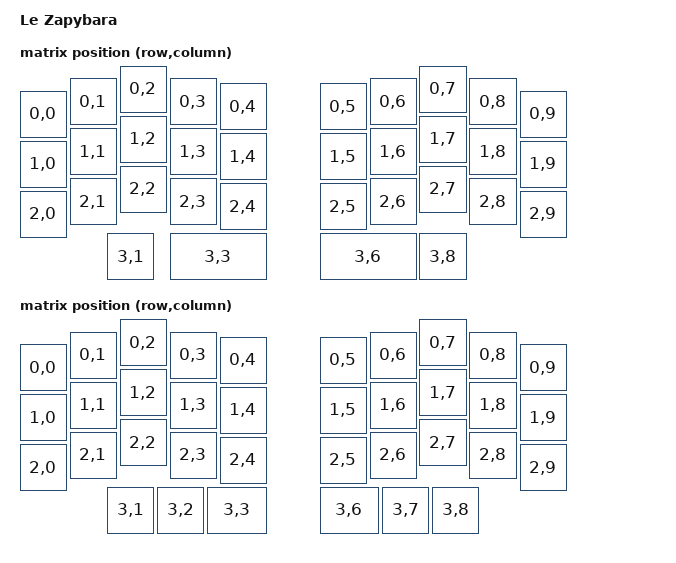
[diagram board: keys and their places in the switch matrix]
/*
 * Copyright (c) 2020 The ZMK Contributors
 *
 * SPDX-License-Identifier: MIT
 */

/dts-v1/;
#include <nordic/nrf52840_qiaa.dtsi>

#include <zephyr/dt-bindings/dt-util.h>
#include <zephyr/dt-bindings/adc/adc.h>
#include <zephyr/dt-bindings/gpio/nordic-nrf-gpio.h>

#include <dt-bindings/zmk/matrix_transform.h>
#include <physical_layouts.dtsi>

#include <freq.h>

&adc {
    status = "okay";

    #address-cells = <1>;
    #size-cells = <0>;

    channel@3 {
        reg = <3>;
        zephyr,gain = "ADC_GAIN_1_6";
        zephyr,reference = "ADC_REF_INTERNAL";
        zephyr,acquisition-time = <ADC_ACQ_TIME(ADC_ACQ_TIME_MICROSECONDS, 40)>;
        zephyr,resolution = <12>;
    };

    channel@1 {
        reg = <1>;
        zephyr,gain = "ADC_GAIN_1_6";
        zephyr,reference = "ADC_REF_INTERNAL";
        zephyr,acquisition-time = <ADC_ACQ_TIME(ADC_ACQ_TIME_MICROSECONDS, 3)>;
        zephyr,resolution = <12>;
    };
};

#define MUX(label)                      \
    label: label {                        \
    	compatible = "zmk,gpio-mux";            \
        gpio-controller;                        \
        #gpio-cells = <2>;                      \
    };


#define EC_MATRIX(_name, _bottom_mask)              \
    _name: _name {                                  \
        compatible = "zmk,kscan-ec-matrix";         \
        input-gpios                                 \
	        = <&left_mux 0 0>                   \
	        , <&left_mux 1 0>                   \
	        , <&left_mux 2 0>                   \
	        , <&left_mux 3 0>                   \
	        , <&left_mux 4 0>                   \
	        , <&right_mux 2 0>                  \
	        , <&right_mux 4 0>                  \
	        , <&right_mux 6 0>                  \
	        , <&right_mux 7 0>                  \
	        , <&right_mux 5 0>                  \
        ;                                           \
        io-channels = <&adc 1>;                     \
        matrix-relax-us = <3>;                      \
        matrix-warm-up-us = <500>;                  \
        adc-read-settle-us = <1>;                   \
        strobe-input-masks = <0 0 0 _bottom_mask>;  \
        sleep-after-secs = <10>;                    \
        active-polling-interval-ms = <2>;           \
        idle-polling-interval-ms = <3>;             \
        sleep-polling-interval-ms = <4>;            \
        dynamic-polling-interval;                   \
    };

/ {
    model = "Le Zapybara";
    compatible = "sporkus,le_zapybara", "nordic,nrf52840";

    chosen {
        zephyr,code-partition = &code_partition;
        zephyr,sram = &sram0;
        zephyr,flash = &flash0;
	zerhyr,console = &cdc_acm_uart;
	zerhyr,shell-uart = &cdc_acm_uart;
        zmk,battery = &vbatt;
	zmk,physical-layout = &layout;
    };

    vbatt: vbatt {
        compatible = "voltage-divider";
        io-channels = <&adc 3>;
        
        output-ohms = <2000000>;
        full-ohms = <(2000000 + 806000)>;
    };

    aliases {
        led0 = &blue_led;
    };

    leds {
        compatible = "gpio-leds";
        blue_led: led_0 {
        };
    };

    transform: transform {
        compatible = "zmk,matrix-transform";
        rows = <4>;
        columns = <10>;

        map = <
        RC(0,0) RC(0,1) RC(0,2) RC(0,3) RC(0,4)     RC(0,5) RC(0,6) RC(0,7) RC(0,8) RC(0,9)
        RC(1,0) RC(1,1) RC(1,2) RC(1,3) RC(1,4)     RC(1,5) RC(1,6) RC(1,7) RC(1,8) RC(1,9)
        RC(2,0) RC(2,1) RC(2,2) RC(2,3) RC(2,4)     RC(2,5) RC(2,6) RC(2,7) RC(2,8) RC(2,9)
                        RC(3,1)     RC(3,3)             RC(3,6)     RC(3,8)
        >;
    };

    thirty_six_transform: thirty_six_transform {
        compatible = "zmk,matrix-transform";
        rows = <4>;
        columns = <10>;

        map = <
        RC(0,0) RC(0,1) RC(0,2) RC(0,3) RC(0,4)     RC(0,5) RC(0,6) RC(0,7) RC(0,8) RC(0,9)
        RC(1,0) RC(1,1) RC(1,2) RC(1,3) RC(1,4)     RC(1,5) RC(1,6) RC(1,7) RC(1,8) RC(1,9)
        RC(2,0) RC(2,1) RC(2,2) RC(2,3) RC(2,4)     RC(2,5) RC(2,6) RC(2,7) RC(2,8) RC(2,9)
                        RC(3,1) RC(3,2) RC(3,3)     RC(3,6) RC(3,7) RC(3,8)
        >;
    };

    layout: layout {
        compatible = "zmk,physical-layout";
	display-name = "Standard";
	transform = <&transform>;
	kscan = <&matrix>;

	keys
             = <&key_physical_attrs 100 100 000  53 0 0 0>
             , <&key_physical_attrs 100 100 100  28 0 0 0>
             , <&key_physical_attrs 100 100 200  03 0 0 0>
             , <&key_physical_attrs 100 100 300  28 0 0 0>
             , <&key_physical_attrs 100 100 400  38 0 0 0>
             , <&key_physical_attrs 100 100 600  38 0 0 0>
             , <&key_physical_attrs 100 100 700  28 0 0 0>
             , <&key_physical_attrs 100 100 800  03 0 0 0>
             , <&key_physical_attrs 100 100 900  28 0 0 0>
             , <&key_physical_attrs 100 100 1000 53 0 0 0>
             
             , <&key_physical_attrs 100 100 000  153 0 0 0>
             , <&key_physical_attrs 100 100 100  128 0 0 0>
             , <&key_physical_attrs 100 100 200  103 0 0 0>
             , <&key_physical_attrs 100 100 300  128 0 0 0>
             , <&key_physical_attrs 100 100 400  138 0 0 0>
             , <&key_physical_attrs 100 100 600  138 0 0 0>
             , <&key_physical_attrs 100 100 700  128 0 0 0>
             , <&key_physical_attrs 100 100 800  103 0 0 0>
             , <&key_physical_attrs 100 100 900  128 0 0 0>
             , <&key_physical_attrs 100 100 1000 153 0 0 0>
             
             , <&key_physical_attrs 100 100 000  253 0 0 0>
             , <&key_physical_attrs 100 100 100  228 0 0 0>
             , <&key_physical_attrs 100 100 200  203 0 0 0>
             , <&key_physical_attrs 100 100 300  228 0 0 0>
             , <&key_physical_attrs 100 100 400  238 0 0 0>
             , <&key_physical_attrs 100 100 600  238 0 0 0>
             , <&key_physical_attrs 100 100 700  228 0 0 0>
             , <&key_physical_attrs 100 100 800  203 0 0 0>
             , <&key_physical_attrs 100 100 900  228 0 0 0>
             , <&key_physical_attrs 100 100 1000 253 0 0 0>
             
             , <&key_physical_attrs 100 100 175 338 0 0 0>
             , <&key_physical_attrs 200 100 300 338 0 0 0>
             , <&key_physical_attrs 200 100 600 338 0 0 0>
             , <&key_physical_attrs 100 100 800 338 0 0 0>
		;
    };

    thirty_six_layout: thirty_six_layout {
        compatible = "zmk,physical-layout";
	display-name = "36-Key";
	transform = <&thirty_six_transform>;
	kscan = <&thirty_six_matrix>;

	keys
             = <&key_physical_attrs 100 100 000  53 0 0 0>
             , <&key_physical_attrs 100 100 100  28 0 0 0>
             , <&key_physical_attrs 100 100 200  03 0 0 0>
             , <&key_physical_attrs 100 100 300  28 0 0 0>
             , <&key_physical_attrs 100 100 400  38 0 0 0>
             , <&key_physical_attrs 100 100 600  38 0 0 0>
             , <&key_physical_attrs 100 100 700  28 0 0 0>
             , <&key_physical_attrs 100 100 800  03 0 0 0>
             , <&key_physical_attrs 100 100 900  28 0 0 0>
             , <&key_physical_attrs 100 100 1000 53 0 0 0>
             
             , <&key_physical_attrs 100 100 000  153 0 0 0>
             , <&key_physical_attrs 100 100 100  128 0 0 0>
             , <&key_physical_attrs 100 100 200  103 0 0 0>
             , <&key_physical_attrs 100 100 300  128 0 0 0>
             , <&key_physical_attrs 100 100 400  138 0 0 0>
             , <&key_physical_attrs 100 100 600  138 0 0 0>
             , <&key_physical_attrs 100 100 700  128 0 0 0>
             , <&key_physical_attrs 100 100 800  103 0 0 0>
             , <&key_physical_attrs 100 100 900  128 0 0 0>
             , <&key_physical_attrs 100 100 1000 153 0 0 0>
             
             , <&key_physical_attrs 100 100 000  253 0 0 0>
             , <&key_physical_attrs 100 100 100  228 0 0 0>
             , <&key_physical_attrs 100 100 200  203 0 0 0>
             , <&key_physical_attrs 100 100 300  228 0 0 0>
             , <&key_physical_attrs 100 100 400  238 0 0 0>
             , <&key_physical_attrs 100 100 600  238 0 0 0>
             , <&key_physical_attrs 100 100 700  228 0 0 0>
             , <&key_physical_attrs 100 100 800  203 0 0 0>
             , <&key_physical_attrs 100 100 900  228 0 0 0>
             , <&key_physical_attrs 100 100 1000 253 0 0 0>
             
             , <&key_physical_attrs 100 100 175 338 0 0 0>
             , <&key_physical_attrs 100 100 275 338 0 0 0>
             , <&key_physical_attrs 125 100 375 338 0 0 0>
             , <&key_physical_attrs 125 100 600 338 0 0 0>
             , <&key_physical_attrs 100 100 725 338 0 0 0>
             , <&key_physical_attrs 100 100 825 338 0 0 0>
		;
    };

    MUX(left_mux)
    MUX(right_mux)

    EC_MATRIX(matrix, (BIT(0) + BIT(2) + BIT(4) + BIT(5) + BIT(7) + BIT(9)))
    EC_MATRIX(thirty_six_matrix, (BIT(0) + BIT(4) + BIT(5) + BIT(9)))
};

&pinctrl {
    spi1_default: spi1_default {
    };

    spi1_sleep: spi1_sleep {
    };
};

&spi1 {
    status = "okay";
    
    pinctrl-0 = <&spi1_default>;
    pinctrl-1 = <&spi1_sleep>;
    pinctrl-names = "default", "sleep";

    wakeup_trigger: wakeup_trigger@0 {
        reg = <0>;

        spi-max-frequency = <DT_FREQ_M(8)>;

        compatible = "zmk,adxl362-awake-trigger";
        wakeup-source;

        linked-devices = <&matrix>;

        wakeup_trigger_settings: normal {
            activity-threshold = <18>;
            activity-time = <0>;
            inactivity-threshold = <60>;
            inactivity-time = <100>;
        };

        wakeup_trigger_sleep_settings: sleep {
            activity-threshold = <140>;
            activity-time = <0>;
            inactivity-threshold = <500>;
            inactivity-time = <0>;
        };
    };
};

&gpiote {
	status = "okay";
};

&gpio0 {
	status = "okay";
};

&gpio1 {
	status = "okay";
};


zephyr_udc0: &usbd {
	status = "okay";
        cdc_acm_uart: cdc_acm_uart {
                compatible = "zephyr,cdc-acm-uart";
        };
};

&flash0 {
	/*
	 * For more information, see:
	 * http://docs.zephyrproject.org/latest/devices/dts/flash_partitions.html
	 */
	partitions {
		compatible = "fixed-partitions";
		#address-cells = <1>;
		#size-cells = <1>;

		sd_partition: partition@0 {
			label = "mbr";
			reg = <0x00000000 0x00001000>;
		};
		code_partition: partition@1000 {
			label = "code_partition";
			reg = <0x00001000 0x000d3000>;
		};

		storage_partition: partition@d4000 {
			label = "storage";
			reg = <0x000d4000 0x00020000>;
		};

		boot_partition: partition@f4000 {
			label = "adafruit_boot";
			reg = <0x000f4000 0x0000c000>;
		};
	};
};
